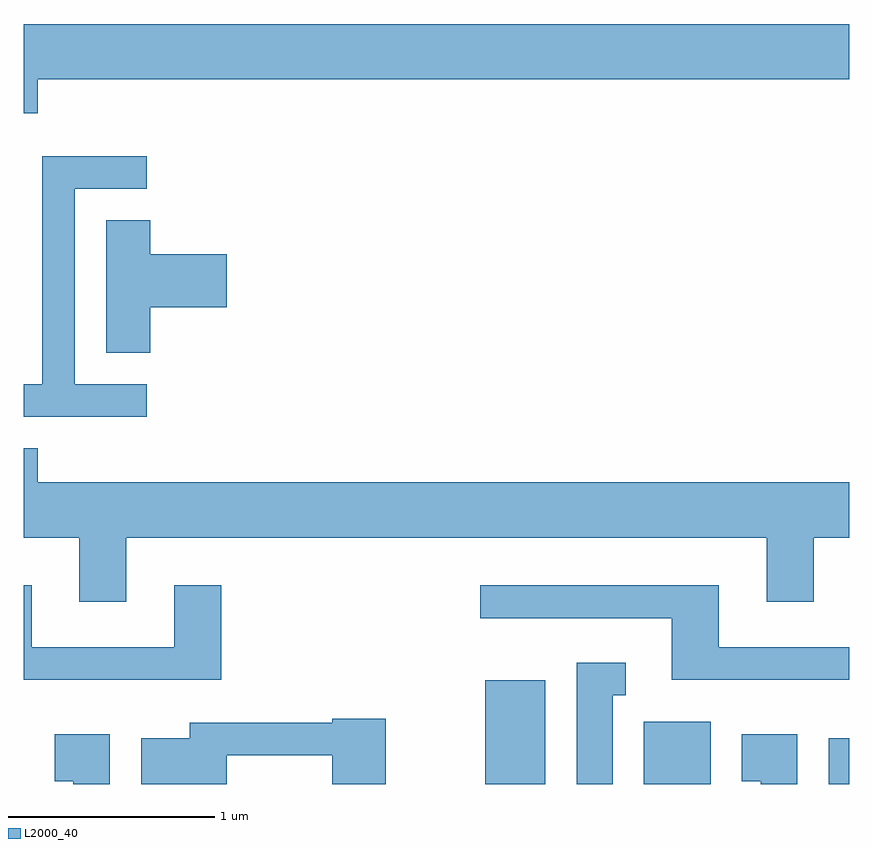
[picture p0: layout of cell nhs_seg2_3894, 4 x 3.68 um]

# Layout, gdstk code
import gdstk
lib = gdstk.Library(unit=1e-6, precision=1e-09)
def R(c, l, rs):  # rectangles x0, y0, x1, y1
    for r in rs: c.add(gdstk.rectangle(r[:2], r[2:], *l))
def P(c, l, *ps):  # polygons
    for p in ps: c.add(gdstk.Polygon(p, *l))
L2000_40 = (2000, 40)

nhs_seg2_3894 = lib.new_cell('nhs_seg2_3894')
R(nhs_seg2_3894, L2000_40, [(301.846,1033.802,302.139,1034.304), (302.616,1033.802,302.939,1034.104), (303.511,1033.802,303.611,1034.024)])
P(nhs_seg2_3894, L2000_40, [(299.679,1037.216),(303.611,1037.216),(303.611,1037.484),(299.611,1037.484),(299.611,1037.051),(299.679,1037.051)],
  [(300.208,1035.739),(299.859,1035.739),(299.859,1036.686),(300.208,1036.686),(300.208,1036.844),(299.701,1036.844),(299.701,1035.739),(299.611,1035.739),(299.611,1035.581),(300.208,1035.581)],
  [(300.224,1036.111),(300.594,1036.111),(300.594,1036.369),(300.224,1036.369),(300.224,1036.534),(300.011,1036.534),(300.011,1035.891),(300.224,1035.891)],
  [(300.109,1034.996),(303.211,1034.996),(303.211,1034.686),(303.439,1034.686),(303.439,1034.996),(303.611,1034.996),(303.611,1035.264),(299.679,1035.264),(299.679,1035.429),(299.611,1035.429),(299.611,1034.996),(299.881,1034.996),(299.881,1034.686),(300.109,1034.686)],
  [(300.569,1034.764),(300.341,1034.764),(300.341,1034.464),(299.649,1034.464),(299.649,1034.764),(299.611,1034.764),(299.611,1034.306),(300.569,1034.306)],
  [(303.611,1034.464),(302.979,1034.464),(302.979,1034.764),(301.823,1034.764),(301.823,1034.606),(302.751,1034.606),(302.751,1034.306),(303.611,1034.306)],
  [(302.464,1034.231),(302.528,1034.231),(302.528,1034.389),(302.291,1034.389),(302.291,1033.802),(302.464,1033.802)],
  [(300.594,1033.941),(301.106,1033.941),(301.106,1033.802),(301.364,1033.802),(301.364,1034.119),(301.106,1034.119),(301.106,1034.099),(300.416,1034.099),(300.416,1034.024),(300.181,1034.024),(300.181,1033.802),(300.594,1033.802)],
  [(300.029,1034.044),(299.761,1034.044),(299.761,1033.816),(299.851,1033.816),(299.851,1033.802),(300.029,1033.802)],
  [(303.359,1034.044),(303.091,1034.044),(303.091,1033.816),(303.181,1033.816),(303.181,1033.802),(303.359,1033.802)])

lib.write_gds('nhs_seg2_3894.gds')
